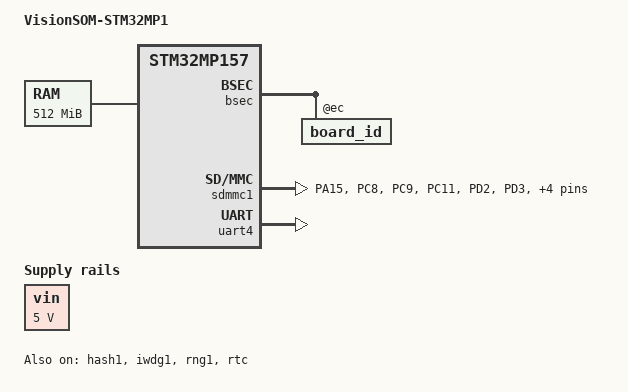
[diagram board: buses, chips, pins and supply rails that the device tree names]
// SPDX-License-Identifier: (GPL-2.0-or-later OR BSD-3-Clause)
/*
 * Copyright (C) 2024, STMicroelectronics - All Rights Reserved
 * Author: STM32CubeMX code generation for STMicroelectronics.
 */

/* For more information on Device Tree configuration, please refer to
 * https://wiki.st.com/stm32mpu/wiki/Category:Device_tree_configuration
 */

/dts-v1/;

#include <dt-bindings/clock/stm32mp1-clksrc.h>
#include "stm32mp15-mx.dtsi"

#include "stm32mp157.dtsi"
#include "stm32mp15xa.dtsi"
#include "stm32mp15-pinctrl.dtsi"
#include "stm32mp15xxaa-pinctrl.dtsi"
#include "stm32mp15-ddr.dtsi"

/ {
	model = "VisionSOM-STM32MP1";
	compatible = "st,stm32mp157a-hdmi-lt8912b-emmc-mx", "st,stm32mp157";

	aliases {
		serial0 = &uart4;
                mmc0 = &sdmmc1;
	};

	chosen {
		stdout-path = "serial0:115200n8";
	};

        clocks {
                clk_hsi: clk-hsi {
                        clock-frequency = <64000000>;
                };
                clk_lse: clk-lse {
                        clock-frequency = <32768>;
                        st,drive = < LSEDRV_MEDIUM_HIGH >;
                };
                clk_hse: clk-hse {
                        clock-frequency = <24000000>;
                        st,digbypass;
                };
        };

        memory@c0000000 {
                device_type = "memory";
                reg = <0xc0000000 0x20000000>;
        };

        vin: vin {
                compatible = "regulator-fixed";
                regulator-name = "vin";
                regulator-min-microvolt = <5000000>;
                regulator-max-microvolt = <5000000>;
                regulator-always-on;
        };
};

&bsec {
        board_id: board_id@ec {
                reg = <0xec 0x4>;
                st,non-secure-otp;
        };
};

&hash1 {
        status = "okay";
};

&iwdg1 {
        timeout-sec = <32>;
        status = "okay";
};

&rcc {
        pinctrl-names = "default";
        pinctrl-0 = <&rcc_pins_mx>;
        status = "okay";

        st,clksrc = <
                CLK_CKPER_DISABLED
                CLK_SDMMC12_PLL4P
                CLK_STGEN_HSI
                CLK_UART24_PCLK1
                CLK_MPU_PLL1P
                CLK_AXI_PLL2P
                CLK_MCU_PLL3P
        >;
        st,clkdiv = <
                DIV(DIV_MPU, 1)
                DIV(DIV_AXI, 0)
                DIV(DIV_MCU, 0)
                DIV(DIV_APB1, 1)
                DIV(DIV_APB2, 1)
                DIV(DIV_APB3, 1)
                DIV(DIV_APB4, 1)
                DIV(DIV_APB5, 2)
                DIV(DIV_MCO1, 0)
                DIV(DIV_MCO2, 0)
        >;
        st,pll_vco {
                pll2_vco_1066Mhz: pll2-vco-1066Mhz {
                        src = < CLK_PLL12_HSE >;
                        divmn = < 2 65 >;
                        frac = < 0x1400 >;
                };
                pll3_vco_400Mhz: pll3-vco-400Mhz {
                        src = < CLK_PLL3_HSE >;
                        divmn = < 2 49 >;
                };
                pll4_vco_594Mhz: pll4-vco-594Mhz {
                        src = < CLK_PLL4_HSE >;
                        divmn = < 3 98 >;
                };
        };

        pll2:st,pll@1 {
                compatible = "st,stm32mp1-pll";
                reg = <1>;

                st,pll = < &pll2_cfg1 >;

                pll2_cfg1: pll2_cfg1 {
                        st,pll_vco = < &pll2_vco_1066Mhz >;
                        st,pll_div_pqr = < 1 0 0 >;
                };
        };

        pll3:st,pll@2 {
                compatible = "st,stm32mp1-pll";
                reg = <2>;

                st,pll = < &pll3_cfg1 >;

                pll3_cfg1: pll3_cfg1 {
                        st,pll_vco = < &pll3_vco_400Mhz >;
                        st,pll_div_pqr = < 1 7 31 >;
                };
        };

        pll4:st,pll@3 {
                compatible = "st,stm32mp1-pll";
                reg = <3>;

                st,pll = < &pll4_cfg1 >;

                pll4_cfg1: pll4_cfg1 {
                        st,pll_vco = < &pll4_vco_594Mhz >;
                        st,pll_div_pqr = < 5 7 5 >;
                };
        };
};

&rng1 {
        status = "okay";
};

&rtc {
        pinctrl-names = "default";
        pinctrl-0 = <&rtc_pins_mx>;
        status = "okay";
};

&sdmmc1 {
	pinctrl-names = "default";
	pinctrl-0 = <&sdmmc1_pins_mx>;
	status = "okay";
};

&uart4 {
        pinctrl-names = "default";
        pinctrl-0 = <&uart4_pins_a>;
        status = "okay";
};

&pinctrl {
        rcc_pins_mx: rcc_mx-0 {
                pins {
                        pinmux = <STM32_PINMUX('C', 14, ANALOG)>, /* RCC_OSC32_IN */
                                         <STM32_PINMUX('C', 15, ANALOG)>, /* RCC_OSC32_OUT */
                                         <STM32_PINMUX('H', 0, ANALOG)>, /* RCC_OSC_IN */
                                         <STM32_PINMUX('H', 1, ANALOG)>; /* RCC_OSC_OUT */
                };
        };

        rtc_pins_mx: rtc_mx-0 {
                pins {
                        pinmux = <STM32_PINMUX('C', 13, ANALOG)>; /* RTC_LSCO */
                };
        };

	sdmmc1_pins_mx: sdmmc1_mx-0 {
		pins1 {
			pinmux = <STM32_PINMUX('A', 15, AF11)>, /* SDMMC1_D5 */
					 <STM32_PINMUX('C', 8, AF12)>, /* SDMMC1_D0 */
					 <STM32_PINMUX('C', 9, AF12)>, /* SDMMC1_D1 */
					 <STM32_PINMUX('C', 11, AF12)>, /* SDMMC1_D3 */
					 <STM32_PINMUX('D', 2, AF12)>, /* SDMMC1_CMD */
					 <STM32_PINMUX('D', 3, AF11)>, /* SDMMC1_D7 */
					 <STM32_PINMUX('E', 4, AF11)>, /* SDMMC1_D4 */
					 <STM32_PINMUX('E', 5, AF11)>, /* SDMMC1_D6 */
					 <STM32_PINMUX('E', 6, AF8)>; /* SDMMC1_D2 */
			bias-pull-up;
			drive-push-pull;
			slew-rate = <1>;
		};
		pins2 {
			pinmux = <STM32_PINMUX('C', 12, AF12)>; /* SDMMC1_CK */
			bias-pull-up;
			drive-push-pull;
			slew-rate = <3>;
		};
	};
};
